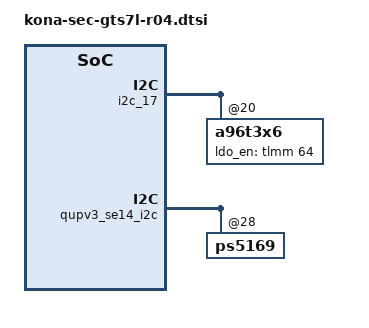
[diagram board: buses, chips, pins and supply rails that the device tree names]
/* Copyright (c) 2020, The Linux Foundation. All rights reserved.
 *
 * This program is free software; you can redistribute it and/or modify
 * it under the terms of the GNU General Public License version 2 and
 * only version 2 as published by the Free Software Foundation.
 *
 * This program is distributed in the hope that it will be useful,
 * but WITHOUT ANY WARRANTY; without even the implied warranty of
 * MERCHANTABILITY or FITNESS FOR A PARTICULAR PURPOSE.  See the
 * GNU General Public License for more details.
 */

#include "kona-sec-gts7l-r03.dtsi"
#include "kona-sec-gts7l-pinctrl-r04.dtsi"

&soc {
    
};

/* WIFI GRIP */
&i2c_17 { /* SW I2C */
	pinctrl-0 = <&wifi_grip_ldo_active &wifi_grip_int_active &wifi_grip_i2c_active>;
	pinctrl-1 = <&wifi_grip_ldo_suspend &wifi_grip_int_active &wifi_grip_i2c_suspend>;
	a96t3x6@20 {
		a96t3x6,ldo_en = <&tlmm 64 0>;
	};
};

&qupv3_se14_i2c {
	ps5169@28 {
		/delete-property/ combo,enable_control;
		combo,enable_control = <0>;
	};
};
